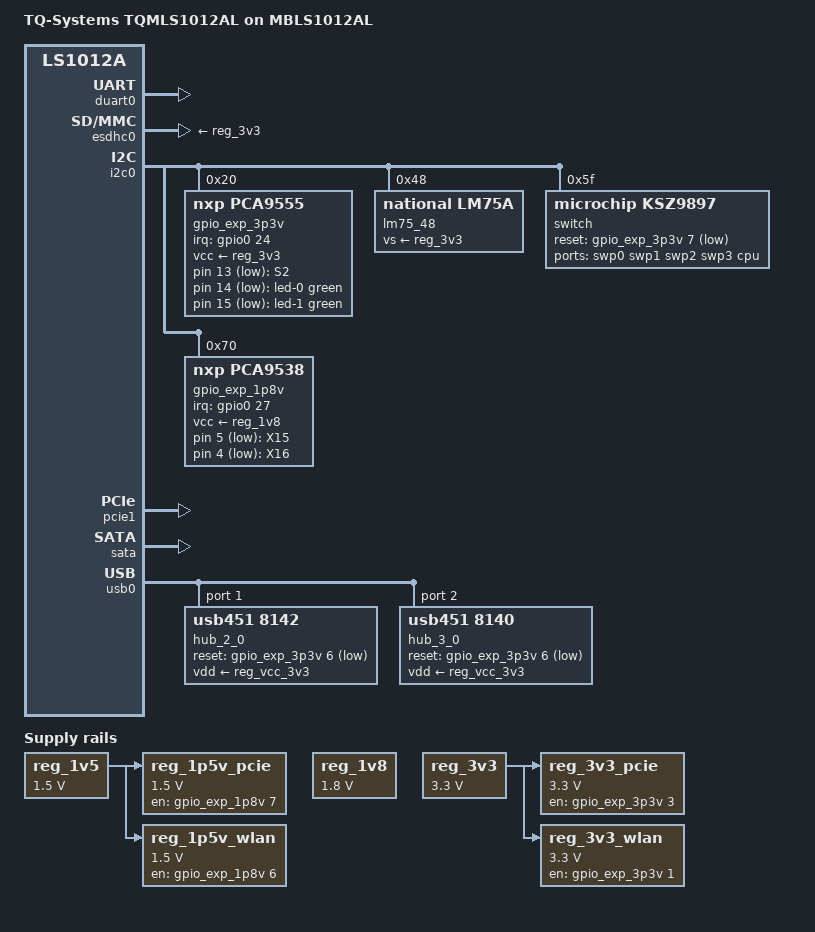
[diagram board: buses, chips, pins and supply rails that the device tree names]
// SPDX-License-Identifier: (GPL-2.0-or-later OR MIT)
/*
 * Copyright (c) 2018-2025 TQ-Systems GmbH <linux@ew.tq-group.com>,
 * D-82229 Seefeld, Germany.
 * Author: Matthias Schiffer
 * Author: Max Merchel
 */

/dts-v1/;

#include <dt-bindings/gpio/gpio.h>
#include <dt-bindings/input/input.h>
#include <dt-bindings/leds/common.h>
#include <dt-bindings/net/ti-dp83867.h>
#include "fsl-ls1012a-tqmls1012al.dtsi"

/ {
	model = "TQ-Systems TQMLS1012AL on MBLS1012AL";
	compatible = "tq,ls1012a-tqmls1012al-mbls1012al", "tq,ls1012a-tqmls1012al", "fsl,ls1012a";
	chassis-type = "embedded";

	aliases {
		/* use MAC from U-Boot environment */
		/* TODO: PFE */
		ethernet2 = &swport0;
		ethernet3 = &swport1;
		ethernet4 = &swport2;
		ethernet5 = &swport3;
		serial0 = &duart0;
		spi0 = &qspi;
	};

	chosen {
		stdout-path = &duart0;
	};

	gpio-keys {
		compatible = "gpio-keys";
		autorepeat;

		switch-1 {
			label = "S2";
			linux,code = <BTN_0>;
			gpios = <&gpio_exp_3p3v 13 GPIO_ACTIVE_LOW>;
		};

		switch-2 {
			label = "X15";
			linux,code = <BTN_1>;
			gpios = <&gpio_exp_1p8v 5 GPIO_ACTIVE_LOW>;
		};

		switch-3 {
			label = "X16";
			linux,code = <BTN_2>;
			gpios = <&gpio_exp_1p8v 4 GPIO_ACTIVE_LOW>;
		};
	};

	gpio-leds {
		compatible = "gpio-leds";

		led-0 {
			color = <LED_COLOR_ID_GREEN>;
			function = LED_FUNCTION_HEARTBEAT;
			gpios = <&gpio_exp_3p3v 14 GPIO_ACTIVE_LOW>;
			linux,default-trigger = "heartbeat";
		};

		led-1 {
			color = <LED_COLOR_ID_GREEN>;
			function = LED_FUNCTION_STATUS;
			gpios = <&gpio_exp_3p3v 15 GPIO_ACTIVE_LOW>;
			linux,default-trigger = "default-on";
		};
	};

	reserved-memory {
		#address-cells = <2>;
		#size-cells = <2>;
		ranges;

		/* global autoconfigured region for contiguous allocations */
		linux,cma {
			compatible = "shared-dma-pool";
			reusable;
			/* 64 MiB */
			size = <0 0x04000000>;
			/*  512 - 128 MiB, our minimum RAM config will be 512 MiB */
			alloc-ranges = <0 0x80000000 0 0x98000000>;
			linux,cma-default;
		};
	};

	reg_1v5: regulator-1v5 {
		compatible = "regulator-fixed";
		regulator-name = "V_1V5";
		regulator-min-microvolt = <1500000>;
		regulator-max-microvolt = <1500000>;
		regulator-always-on;
	};

	reg_1p5v_pcie: regulator-1p5v-pcie {
		compatible = "regulator-fixed";
		regulator-name = "V_1V5_PCIE";
		regulator-min-microvolt = <1500000>;
		regulator-max-microvolt = <1500000>;
		regulator-always-on;
		regulator-boot-on;
		gpio = <&gpio_exp_1p8v 7 GPIO_ACTIVE_HIGH>;
		enable-active-high;
		vin-supply = <&reg_1v5>;
	};

	reg_1p5v_wlan: regulator-1p5v-wlan {
		compatible = "regulator-fixed";
		regulator-name = "V_1V5_WLAN";
		regulator-min-microvolt = <1500000>;
		regulator-max-microvolt = <1500000>;
		regulator-always-on;
		regulator-boot-on;
		gpio = <&gpio_exp_1p8v 6 GPIO_ACTIVE_HIGH>;
		enable-active-high;
		vin-supply = <&reg_1v5>;
	};

	reg_1v8: regulator-1p8v {
		compatible = "regulator-fixed";
		regulator-name = "V_1V8";
		regulator-min-microvolt = <1800000>;
		regulator-max-microvolt = <1800000>;
		regulator-always-on;
	};

	reg_3v3: regulator-3p3v {
		compatible = "regulator-fixed";
		regulator-name = "3P3V";
		regulator-min-microvolt = <3300000>;
		regulator-max-microvolt = <3300000>;
		regulator-always-on;
	};

	reg_3v3_pcie: regulator-3v3-pcie {
		compatible = "regulator-fixed";
		regulator-name = "V_3V3_PCIE";
		regulator-min-microvolt = <3300000>;
		regulator-max-microvolt = <3300000>;
		regulator-always-on;
		regulator-boot-on;
		gpio = <&gpio_exp_3p3v 3 GPIO_ACTIVE_HIGH>;
		enable-active-high;
		vin-supply = <&reg_3v3>;
	};

	reg_3v3_wlan: regulator-3v3-wlan {
		compatible = "regulator-fixed";
		regulator-name = "V_3V3_WLAN";
		regulator-min-microvolt = <3300000>;
		regulator-max-microvolt = <3300000>;
		regulator-always-on;
		regulator-boot-on;
		gpio = <&gpio_exp_3p3v 1 GPIO_ACTIVE_HIGH>;
		enable-active-high;
		vin-supply = <&reg_3v3>;
	};
};

&duart0 {
	status = "okay";
};

&esdhc0 {
	vmmc-supply = <&reg_3v3>;
	no-mmc;
	no-sdio;
	disable-wp;
	sd-uhs-sdr12;
	sd-uhs-sdr25;
	sd-uhs-sdr50;
	sd-uhs-sdr104;
	status = "okay";
};

&i2c0 {
	gpio_exp_3p3v: gpio@20 {
		compatible = "nxp,pca9555";
		reg = <0x20>;
		gpio-controller;
		#gpio-cells = <2>;
		vcc-supply = <&reg_3v3>;
		interrupt-parent = <&gpio0>;
		interrupts = <24 IRQ_TYPE_EDGE_FALLING>;
		interrupt-controller;
		#interrupt-cells = <2>;
		gpio-line-names = "", "", "GPIO_3V3_3", "",
				  "", "", "", "",
				  "", "GPIO_3V3_1", "GPIO_3V3_2", "",
				  "", "", "", "";

		wlan-disable-hog {
			gpio-hog;
			gpios = <0 GPIO_ACTIVE_HIGH>;
			output-high;
			line-name = "WLAN_DISABLE#";
		};

		pcie-rst-hog {
			gpio-hog;
			gpios = <4 GPIO_ACTIVE_HIGH>;
			output-high;
			line-name = "PCIE_RST#";
		};

		wlan-rst-hog {
			gpio-hog;
			gpios = <5 GPIO_ACTIVE_HIGH>;
			output-high;
			line-name = "WLAN_RST#";
		};

		pcie-dis-hog {
			gpio-hog;
			gpios = <11 GPIO_ACTIVE_HIGH>;
			output-high;
			line-name = "PCIE_DIS#";
		};

		pcie-wake-hog {
			gpio-hog;
			gpios = <12 GPIO_ACTIVE_HIGH>;
			input;
			line-name = "PCIE_WAKE#";
		};
	};

	lm75_48: temperature-sensor@48 {
		compatible = "national,lm75a";
		reg = <0x48>;
		vs-supply = <&reg_3v3>;
	};

	switch@5f {
		compatible = "microchip,ksz9897";
		reg = <0x5f>;
		reset-gpios = <&gpio_exp_3p3v 7 GPIO_ACTIVE_LOW>;

		ports {
			#address-cells = <1>;
			#size-cells = <0>;

			swport0: port@0 {
				reg = <0>;
				label = "swp0";
				phy-mode = "internal";
			};

			swport1: port@1 {
				reg = <1>;
				label = "swp1";
				phy-mode = "internal";
			};

			swport2: port@2 {
				reg = <2>;
				label = "swp2";
				phy-mode = "internal";
			};

			swport3: port@3 {
				reg = <3>;
				label = "swp3";
				phy-mode = "internal";
			};

			port@6 {
				reg = <6>;
				label = "cpu";
				/* TODO: PFE */
				phy-mode = "rgmii-id";
				rx-internal-delay-ps = <1500>;
				tx-internal-delay-ps = <1500>;

				fixed-link {
					speed = <1000>;
					full-duplex;
				};
			};
		};
	};

	gpio_exp_1p8v: gpio@70 {
		compatible = "nxp,pca9538";
		reg = <0x70>;
		gpio-controller;
		#gpio-cells = <2>;
		vcc-supply = <&reg_1v8>;
		interrupt-parent = <&gpio0>;
		interrupts = <27 IRQ_TYPE_EDGE_FALLING>;
		interrupt-controller;
		#interrupt-cells = <2>;
		gpio-line-names = "PCIE_CLK_PD#", "PMIC_INT#", "ETH_SW_INT#", "",
				  "", "", "", "",
				  "", "GPIO_3V3_1", "GPIO_3V3_2", "",
				  "", "", "", "";

		/* do not change PCIE_CLK_PD */
		pcie-clk-pd-hog {
			gpio-hog;
			gpios = <0 GPIO_ACTIVE_HIGH>;
			output-high;
			line-name = "PCIE_CLK_PD#";
		};

		pmic-int-hog {
			gpio-hog;
			gpios = <1 GPIO_ACTIVE_HIGH>;
			input;
			line-name = "PMIC_INT#";
		};

		eth-sw-int-hog {
			gpio-hog;
			gpios = <2 GPIO_ACTIVE_HIGH>;
			input;
			line-name = "ETH_SW_INT#";
		};

		eth-link-pwrdwn-hog {
			gpio-hog;
			gpios = <3 GPIO_ACTIVE_HIGH>;
			input;
			line-name = "ETH_LINK_PWRDWN#";
		};
	};
};

&pcie1 {
	status = "okay";
};

/* TODO: PFE */

&sata {
	status = "okay";
};

&usb0 {
	#address-cells = <1>;
	#size-cells = <0>;

	hub_2_0: hub@1 {
		compatible = "usb451,8142";
		reg = <1>;
		peer-hub = <&hub_3_0>;
		reset-gpios = <&gpio_exp_3p3v 6 GPIO_ACTIVE_LOW>;
		vdd-supply = <&reg_vcc_3v3>;
	};

	hub_3_0: hub@2 {
		compatible = "usb451,8140";
		reg = <2>;
		peer-hub = <&hub_2_0>;
		reset-gpios = <&gpio_exp_3p3v 6 GPIO_ACTIVE_LOW>;
		vdd-supply = <&reg_vcc_3v3>;
	};
};
